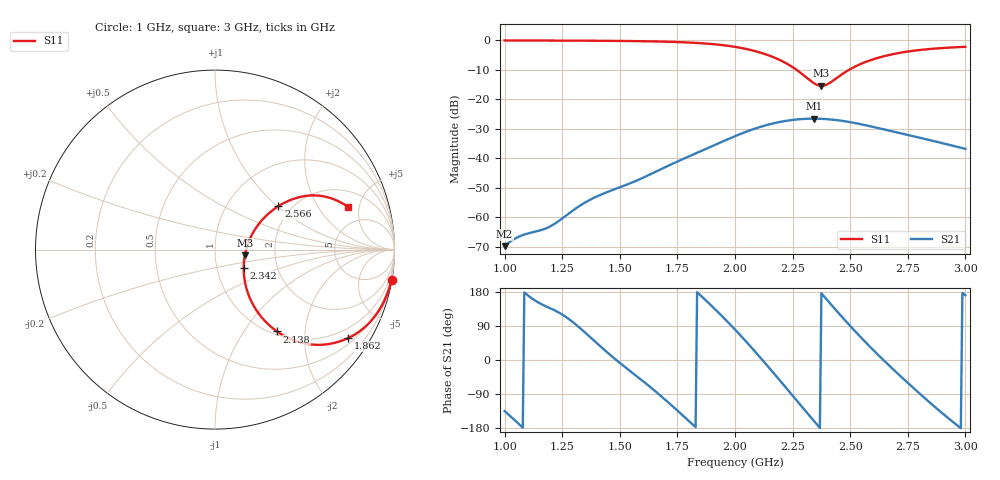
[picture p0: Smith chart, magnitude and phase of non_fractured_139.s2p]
! TOUCHSTONE file generated by CST MICROWAVE STUDIO
! Date and time: Sat Mar  8 13:54:58 2025
! Project name: non_fractured.cst
! Parameters = {B=2.5; D=160; F=20; Feed=2.85625; L=100; M=10; R=0.384908; S=2; Theta=180; length=57.125; wave=114.25}
! Header version: 2024
! Port assignment regex: !\s*Touchstone port\s*([0-9]+)\s*=\s*(CST MWS port|CST DES external port|CST DES block port)\s*(.+)\s* \(\"(.*)\"\)(\s*mode\s*([0-9]+))?.*
! Touchstone port assignment:
! Touchstone port 1 = CST MWS port 1 ("")
! Touchstone port 2 = CST MWS port 2 ("")
# GHz S DB R 50
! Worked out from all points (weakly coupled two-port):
!   305 points, 1 GHz to 3 GHz, reference 50 ohm
!   highest |S21| = -26.57 dB at 2.342 GHz (marker M1); lowest = -69.9 dB at 1 GHz (marker M2)
!   lowest |S11| = -15.4 dB at 2.375 GHz (marker M3), VSWR 1.41, Z = 69.8 - j4.57 ohm
!   |S11| at or under -10 dB: 2.267 GHz to 2.495 GHz (227.4 MHz wide, 9.55 % of centre)
!   S12 and S22 are empty: the file has one direction only
!   S11 on the Smith chart (normalised r, x): 1 GHz: 0, -12; 1.862 GHz: 0.67, -3.18; 2.138 GHz: 1.06, -1.43; 2.342 GHz: 1.35, -0.28; 2.566 GHz: 1.71, +1.02; 3 GHz: 3.20, +3.85
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1  -0.02 -9.8  -69.87 -134.8  -200.00 0.0  -200.00 0.0
1.03289  -0.02 -10.2  -67.88 -152.9  -200.00 0.0  -200.00 0.0
1.06579  -0.03 -10.7  -66.51 -171.4  -200.00 0.0  -200.00 0.0
1.19737  -0.05 -12.7  -63.17 136.7  -200.00 0.0  -200.00 0.0
1.33553  -0.09 -15.2  -55.70 79.9  -200.00 0.0  -200.00 0.0
1.40789  -0.12 -16.7  -52.71 40.3  -200.00 0.0  -200.00 0.0
1.55921  -0.23 -20.6  -48.07 -36.0  -200.00 0.0  -200.00 0.0
1.67105  -0.38 -24.4  -44.01 -91.1  -200.00 0.0  -200.00 0.0
1.86184  -1.01 -33.6  -37.26 164.0  -200.00 0.0  -200.00 0.0
2  -2.19 -43.1  -32.52 80.4  -200.00 0.0  -200.00 0.0
2.07237  -3.34 -48.5  -30.34 32.3  -200.00 0.0  -200.00 0.0
2.13816  -4.85 -52.8  -28.73 -13.5  -200.00 0.0  -200.00 0.0
2.23684  -8.43 -55.4  -27.13 -84.4  -200.00 0.0  -200.00 0.0
2.33553  -14.14 -35.5  -26.57 -155.8  -200.00 0.0  -200.00 0.0
2.34211  -14.49 -32.0  -26.57 -160.5  -200.00 0.0  -200.00 0.0
2.375  -15.42 -10.8  -26.63 176.0  -200.00 0.0  -200.00 0.0
2.40789  -14.59 10.0  -26.80 152.7  -200.00 0.0  -200.00 0.0
2.47368  -11.02 30.2  -27.42 107.5  -200.00 0.0  -200.00 0.0
2.56579  -7.36 34.4  -28.78 47.5  -200.00 0.0  -200.00 0.0
2.67105  -4.92 31.4  -30.66 -15.7  -200.00 0.0  -200.00 0.0
2.82895  -3.04 24.0  -33.53 -103.4  -200.00 0.0  -200.00 0.0
3  -2.18 17.8  -36.81 170.7  -200.00 0.0  -200.00 0.0
